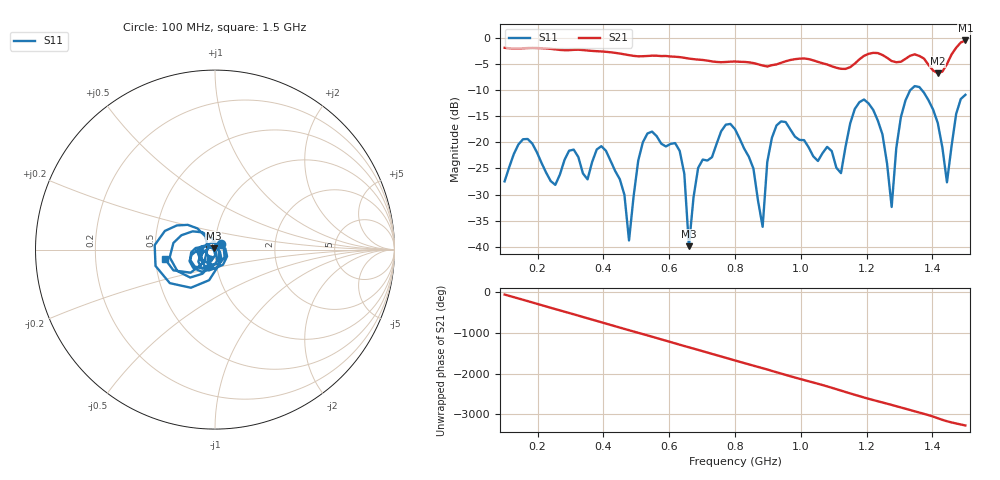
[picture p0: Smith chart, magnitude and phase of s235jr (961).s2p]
! NanoVNA-App
! Date: 2025-09-25 15:11:39
! Start: 100MHz Stop: 1,5GHz Points: 101
! S-Parameter data: F S11 S21 S12 S22
# Hz S RI R 50
!  Frequency  S11_Real  S11_Imag  S21_Real  S21_Imag  S12_Real  S12_Imag  S22_Real  S22_Imag
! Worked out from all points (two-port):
!   101 points, 100 MHz to 1.5 GHz, reference 50 ohm
!   highest |S21| = -0.55 dB at 1.5 GHz (marker M1); lowest = -6.8 dB at 1.416 GHz (marker M2)
!   |S21| within 3 dB of the highest: start of sweep to 500.9 MHz; 523.1 MHz to 595.1 MHz (72.05 MHz wide, 12.9 % of centre) (the widest 2 of 5)
!   lowest |S11| = -39.9 dB at 660 MHz (marker M3), VSWR 1.02, Z = 49.2 + j0.606 ohm
!   |S11| at or under -10 dB: start of sweep to 1.333 GHz; 1.367 GHz to end of sweep
!   S12 and S22 are empty: the file has one direction only
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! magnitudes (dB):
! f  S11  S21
! 100 MHz  -27.5  -2.0
! 156 MHz  -19.4  -2.0
! 338 MHz  -26.0  -2.4
! 408 MHz  -21.6  -2.7
! 478 MHz  -38.8  -3.4
! 520 MHz  -20.0  -3.6
! 576 MHz  -20.3  -3.5
! 632 MHz  -21.7  -3.7
! 660 MHz  -39.9  -4.0
! 688 MHz  -24.9  -4.2
! 800 MHz  -17.5  -4.6
! 884 MHz  -36.2  -5.3
! 926 MHz  -16.8  -5.1
! 1.038 GHz  -22.7  -4.4
! 1.122 GHz  -25.9  -6.0
! 1.192 GHz  -11.8  -3.5
! 1.248 GHz  -18.5  -3.3
! 1.276 GHz  -32.4  -4.5
! 1.332 GHz  -10.1  -3.5
! 1.416 GHz  -16.3  -6.8
! 1.444 GHz  -27.7  -5.1
! 1.5 GHz  -10.9  -0.6
